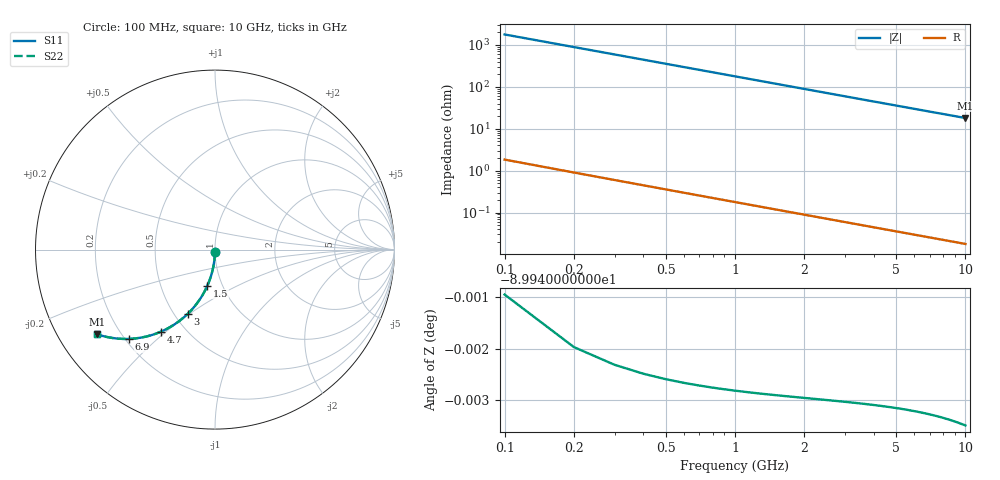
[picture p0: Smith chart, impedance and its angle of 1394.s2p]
# Hz S RI R 50.00
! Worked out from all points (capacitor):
!   100 points, 100 MHz to 10 GHz, reference 50 ohm
!   read as one part in shunt: C = 894 fF near 100 MHz
!   lowest |Z| = 18 ohm at 10 GHz (marker M1)
!   S11 on the Smith chart (normalised r, x): 100 MHz: 1.00, -0.03; 1.5 GHz: 0.85, -0.36; 3 GHz: 0.59, -0.49; 4.7 GHz: 0.37, -0.48; 6.9 GHz: 0.21, -0.41; 10 GHz: 0.12, -0.32
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1e8  -0.000204 -0.014  0.9998 -0.0141  0.9998 -0.0141  -0.000204 -0.014
2e8  -0.000808 -0.028  0.9992 -0.0281  0.9992 -0.0281  -0.000808 -0.028
3e8  -0.0018 -0.042  0.9982 -0.0421  0.9982 -0.0421  -0.0018 -0.042
4e8  -0.00319 -0.0559  0.9968 -0.0561  0.9968 -0.0561  -0.00319 -0.0559
5e8  -0.00496 -0.0697  0.995 -0.07  0.995 -0.07  -0.00496 -0.0697
6e8  -0.00712 -0.0835  0.9929 -0.0838  0.9929 -0.0838  -0.00712 -0.0835
7e8  -0.00965 -0.0971  0.9903 -0.0975  0.9903 -0.0975  -0.00965 -0.0971
9e8  -0.0158 -0.1241  0.9842 -0.1245  0.9842 -0.1245  -0.0158 -0.1241
1.2e9  -0.0277 -0.1634  0.9723 -0.164  0.9723 -0.164  -0.0277 -0.1634
1.5e9  -0.0426 -0.201  0.9574 -0.2018  0.9574 -0.2018  -0.0426 -0.201
1.8e9  -0.0601 -0.2367  0.9399 -0.2376  0.9399 -0.2376  -0.0601 -0.2367
2.4e9  -0.1018 -0.3014  0.8981 -0.3025  0.8981 -0.3025  -0.1018 -0.3014
3e9  -0.1502 -0.3561  0.8497 -0.3575  0.8497 -0.3575  -0.1502 -0.3561
3.4e9  -0.1849 -0.3869  0.8151 -0.3885  0.8151 -0.3885  -0.1849 -0.3869
4e9  -0.2386 -0.4247  0.7614 -0.4267  0.7614 -0.4267  -0.2386 -0.4247
4.7e9  -0.3015 -0.4573  0.6985 -0.4596  0.6985 -0.4596  -0.3015 -0.4573
5.1e9  -0.3367 -0.4709  0.6632 -0.4733  0.6632 -0.4733  -0.3367 -0.4709
5.9e9  -0.4041 -0.4888  0.5959 -0.4917  0.5959 -0.4917  -0.4041 -0.4888
6.7e9  -0.466 -0.4967  0.534 -0.5  0.534 -0.5  -0.466 -0.4967
6.9e9  -0.4805 -0.4974  0.5195 -0.5008  0.5195 -0.5008  -0.4805 -0.4974
8.4e9  -0.5774 -0.4914  0.4226 -0.4955  0.4226 -0.4955  -0.5774 -0.4914
1e10  -0.6587 -0.4711  0.3412 -0.4761  0.3412 -0.4761  -0.6587 -0.4711
